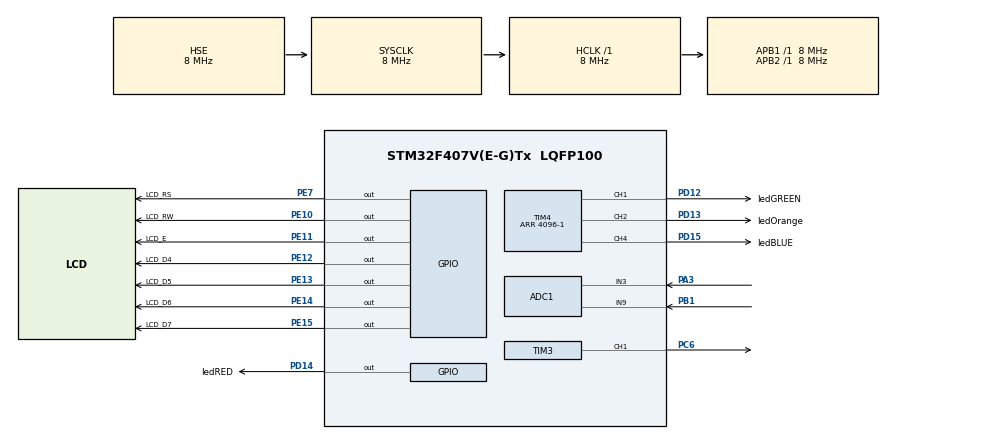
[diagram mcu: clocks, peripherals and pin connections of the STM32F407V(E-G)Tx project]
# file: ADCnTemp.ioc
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ADC1.Channel-3\#ChannelRegularConversion=ADC_CHANNEL_3
ADC1.Channel-4\#ChannelInjectedConversion=ADC_CHANNEL_TEMPSENSOR
ADC1.Channel-5\#ChannelInjectedConversion=ADC_CHANNEL_9
ADC1.ClockPrescaler=ADC_CLOCK_SYNC_PCLK_DIV2
ADC1.ContinuousConvMode=DISABLE
ADC1.EOCSelection=ADC_EOC_SINGLE_CONV
ADC1.InjNumberOfConversion=2
ADC1.InjectedOffset-4\#ChannelInjectedConversion=0
ADC1.InjectedOffset-5\#ChannelInjectedConversion=0
ADC1.InjectedRank-4\#ChannelInjectedConversion=1
ADC1.InjectedRank-5\#ChannelInjectedConversion=2
ADC1.NbrOfConversion=1
ADC1.NbrOfConversionFlag=1
ADC1.Rank-3\#ChannelRegularConversion=1
ADC1.SamplingTime-3\#ChannelRegularConversion=ADC_SAMPLETIME_3CYCLES
ADC1.SamplingTime-4\#ChannelInjectedConversion=ADC_SAMPLETIME_28CYCLES
ADC1.SamplingTime-5\#ChannelInjectedConversion=ADC_SAMPLETIME_480CYCLES
ADC1.ScanConvMode=ENABLE
ADC1.master=1
Mcu.Family=STM32F4
Mcu.Name=STM32F407V(E-G)Tx
Mcu.Package=LQFP100
NVIC.ADC_IRQn=true\:0\:0\:false\:false\:true\:true\:true
NVIC.PriorityGroup=NVIC_PRIORITYGROUP_4
NVIC.TIM3_IRQn=true\:0\:0\:false\:false\:true\:true\:true
NVIC.TIM4_IRQn=true\:0\:0\:false\:false\:true\:true\:true
PA3.GPIO_PuPd=GPIO_NOPULL
PA3.Signal=ADCx_IN3
PB1.Signal=ADCx_IN9
PC6.Signal=S_TIM3_CH1
PD12.GPIO_Label=ledGREEN
PD12.Signal=S_TIM4_CH1
PD13.GPIO_Label=ledOrange
PD13.GPIO_PuPd=GPIO_PULLDOWN
PD13.Signal=S_TIM4_CH2
PD14.GPIO_Label=ledRED
PD14.GPIO_PuPd=GPIO_PULLDOWN
PD14.Signal=GPIO_Output
PD15.GPIO_Label=ledBLUE
PD15.GPIO_PuPd=GPIO_PULLDOWN
PD15.Signal=S_TIM4_CH4
PE10.GPIO_Label=LCD_RW
PE10.Signal=GPIO_Output
PE11.GPIO_Label=LCD_E
PE11.Signal=GPIO_Output
PE12.GPIO_Label=LCD_D4
PE12.Signal=GPIO_Output
PE13.GPIO_Label=LCD_D5
PE13.Signal=GPIO_Output
PE14.GPIO_Label=LCD_D6
PE14.Signal=GPIO_Output
PE15.GPIO_Label=LCD_D7
PE15.Signal=GPIO_Output
PE7.GPIO_Label=LCD_RS
PE7.Signal=GPIO_Output
PH0-OSC_IN.Mode=HSE-External-Oscillator
PH0-OSC_IN.Signal=RCC_OSC_IN
PH1-OSC_OUT.Mode=HSE-External-Oscillator
PH1-OSC_OUT.Signal=RCC_OSC_OUT
ProjectManager.HeapSize=0x200
ProjectManager.StackSize=0x400
ProjectManager.TargetToolchain=STM32CubeIDE
RCC.48MHZClocksFreq_Value=24000000
RCC.AHBFreq_Value=8000000
RCC.APB1Freq_Value=8000000
RCC.APB1TimFreq_Value=8000000
RCC.APB2Freq_Value=8000000
RCC.APB2TimFreq_Value=8000000
RCC.CortexFreq_Value=8000000
RCC.HCLKFreq_Value=8000000
RCC.HSE_VALUE=8000000
RCC.HSI_VALUE=16000000
RCC.LSE_VALUE=32768
RCC.PLLSourceVirtual=RCC_PLLSOURCE_HSE
RCC.SYSCLKFreq_VALUE=8000000
RCC.SYSCLKSource=RCC_SYSCLKSOURCE_HSE
RCC.VCOOutputFreq_Value=96000000
SH.ADCx_IN3.0=ADC1_IN3,IN3
SH.ADCx_IN9.0=ADC1_IN9,IN9
SH.S_TIM3_CH1.0=TIM3_CH1,PWM Generation1 CH1
SH.S_TIM4_CH1.0=TIM4_CH1,PWM Generation1 CH1
SH.S_TIM4_CH2.0=TIM4_CH2,PWM Generation2 CH2
SH.S_TIM4_CH4.0=TIM4_CH4,PWM Generation4 CH4
TIM3.Channel-PWM\ Generation1\ CH1=TIM_CHANNEL_1
TIM3.Period=1999
TIM3.Prescaler=1999
TIM4.Channel-PWM\ Generation1\ CH1=TIM_CHANNEL_1
TIM4.Channel-PWM\ Generation2\ CH2=TIM_CHANNEL_2
TIM4.Channel-PWM\ Generation4\ CH4=TIM_CHANNEL_4
TIM4.Period=4096-1
VP_ADC1_TempSens_Input.Mode=IN-TempSens
board=custom

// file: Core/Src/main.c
/* USER CODE BEGIN Header */
/*
 * -----------------------------------------------------------------------------
 * ADC and temperature sensors.
 * 4 pins output:
 * red(PD14) - digital;
 * green(PD12), orange(PD13), blue(PD15) - PWM.
 * TIM3 - generates the blinking frequency of the red LED.
 * TIM4 - generates PWM.
 * Visualization:  |  Gradation: []
 * orange - internal temp sensor(inside CPU)  |  [1035-1110];
 * green - external temp sensor(lm335)        |  [4095-0 / -24*C-100*C];
 * blue - potentiometer (to pin PA3)          |  [0-4095];
 * red - indication of an emergency situation:
 *       #internal temp sensor: > 1090;
 *       #external temp sensor: > 35*C;
 *       #potentiometer       : > 3500.
 * Emergency priority system:
 * 1) internal temp sensor(inside CPU)
 * 2) external temp sensor(lm335)
 * 3) potentiometer
 * (If several conditions are triggered at the same time,
 *  the indication will show the one above in the list.)
 * -----------------------------------------------------------------------------
 */
/**
  ******************************************************************************
  * @file           : main.c
  * @brief          : Main program body
  ******************************************************************************
  * @attention
  *
  * <h2><center>&copy; Copyright (c) 2021 STMicroelectronics.
  * All rights reserved.</center></h2>
  *
  * This software component is licensed by ST under BSD 3-Clause license,
  * the "License"; You may not use this file except in compliance with the
  * License. You may obtain a copy of the License at:
  *                        opensource.org/licenses/BSD-3-Clause
  *
  ******************************************************************************
  */
/* USER CODE END Header */
#include "main.h"

/* USER CODE BEGIN Includes */
// Library for easy output of information on the lcd display.
// Taken from the Internet.
#include "hd44780.h"
/* USER CODE END Includes */

ADC_HandleTypeDef hadc1;

TIM_HandleTypeDef htim3;
TIM_HandleTypeDef htim4;

/* USER CODE BEGIN PV */
_Bool flag_emerency = 0;
uint16_t adcPOT = 0; // Potentiometer
uint16_t adcCPU = 0; // Internal temp sensor(inside CPU)
uint32_t adcEXT = 0; // External temp sensor(lm335)
double tempEXT;
// Degree symbol
uint8_t symbDegree[FONT_HEIGHT] =
{
		0b01100,
		0b10010,
		0b10010,
		0b01100,
		0b00000,
		0b00000,
		0b00000,
		0b00000
};
/* USER CODE END PV */

void SystemClock_Config(void);
static void MX_GPIO_Init(void);
static void MX_TIM3_Init(void);
static void MX_ADC1_Init(void);
static void MX_TIM4_Init(void);
/* USER CODE BEGIN PFP */
void printTempLCD();
uint16_t calcCPU(uint16_t inputADC_CPU);
double calcTempEXT(uint16_t inputADC_EXT);
void setTimARR(uint16_t valPeriod);
/* USER CODE END PFP */

/* USER CODE BEGIN 0 */
void HAL_ADC_ConvCpltCallback(ADC_HandleTypeDef* hadc)
{
    if(hadc->Instance == ADC1) //check if the interrupt comes from ACD1
    {
    	/* Get the value from the potentiometer */
        adcPOT = HAL_ADC_GetValue(&hadc1);
    }
}
void HAL_TIM_PeriodElapsedCallback(TIM_HandleTypeDef *htim)
{
	if (flag_emerency) {
		if (htim->Instance==TIM3) //check if the interrupt comes from TIM1
			HAL_GPIO_TogglePin(GPIOD, ledRED_Pin); //Toggle the state of pin
	}
}
/* USER CODE END 0 */

int main(void)
{

  /* MCU Configuration--------------------------------------------------------*/

  /* Reset of all peripherals, Initializes the Flash interface and the Systick. */
  HAL_Init();

  /* Configure the system clock */
  SystemClock_Config();

  /* Initialize all configured peripherals */
  MX_GPIO_Init();
  MX_TIM3_Init();
  MX_ADC1_Init();
  MX_TIM4_Init();
  /* USER CODE BEGIN 2 */
  HAL_TIM_Base_Start_IT(&htim3);
  HAL_ADC_Start_IT(&hadc1);
  HAL_TIM_PWM_Start(&htim4, TIM_CHANNEL_1);
  HAL_TIM_PWM_Start(&htim4, TIM_CHANNEL_2);
  HAL_TIM_PWM_Start(&htim4, TIM_CHANNEL_4);
  //Initialization of the LCD display
  lcdInit();
  /* USER CODE END 2 */

  /* Infinite loop */
  /* USER CODE BEGIN WHILE */
  while (1)
  {
	  /* ADC, temp sensors and indication */
		  // Read the analog value from the internal and external temperature sensor
		  HAL_ADCEx_InjectedStart(&hadc1);
		  HAL_ADC_PollForConversion(&hadc1,100);
		  adcCPU = HAL_ADCEx_InjectedGetValue(&hadc1, ADC_INJECTED_RANK_1);
		  adcEXT = HAL_ADCEx_InjectedGetValue(&hadc1, ADC_INJECTED_RANK_2);
		  HAL_ADCEx_InjectedStop(&hadc1);

		  // Set the calculated PWM value
		  ledORANGE_Tim = calcCPU(adcCPU);
		  // Max values ​​for PWM and max values ​​from ADC are equal.
		  // (No need to recalculate)
		  ledBLUE_Tim = adcPOT;
		  // Initially, the values of adc from lm335 are obtained with inversion.
		  // This must be corrected to set the PWM value.
		  ledGREEN_Tim = 4095 - adcEXT;

		  // Calculating the value of temperature in degrees Celsius.
		  tempEXT = calcTempEXT(adcEXT);

	  /* Indication of an emergency situation */
		  if (calcCPU(adcCPU) > 3000)
		  {
			  flag_emerency = 1;
			  setTimARR(400-1);  // Set period to 5Hz blinking
		  }
		  else if (adcEXT < 1800)
		  {
			  flag_emerency = 1;
			  setTimARR(800-1);  // Set period to 2.5Hz blinking
		  }
		  else if (adcPOT > 3500)
		  {
			  flag_emerency = 1;
			  setTimARR(2000-1);  // Set period to 1Hz blinking
		  }
		  else
		  {
			  flag_emerency = 0;
			  HAL_GPIO_WritePin(GPIOD, ledRED_Pin, 0); // Turn off red led
		  }

	 /* Print values on the display. */
	   printTempLCD();

	   HAL_Delay(300);
	   // Reactivation of the analog reading function.
	   HAL_ADC_Start_IT(&hadc1);

    /* USER CODE END WHILE */

  }
}

void SystemClock_Config(void)
{
  RCC_OscInitTypeDef RCC_OscInitStruct = {0};
  RCC_ClkInitTypeDef RCC_ClkInitStruct = {0};

  /** Configure the main internal regulator output voltage
  */
  __HAL_RCC_PWR_CLK_ENABLE();
  __HAL_PWR_VOLTAGESCALING_CONFIG(PWR_REGULATOR_VOLTAGE_SCALE1);
  /** Initializes the RCC Oscillators according to the specified parameters
  * in the RCC_OscInitTypeDef structure.
  */
  RCC_OscInitStruct.OscillatorType = RCC_OSCILLATORTYPE_HSE;
  RCC_OscInitStruct.HSEState = RCC_HSE_ON;
  RCC_OscInitStruct.PLL.PLLState = RCC_PLL_NONE;
  if (HAL_RCC_OscConfig(&RCC_OscInitStruct) != HAL_OK)
  {
    Error_Handler();
  }
  /** Initializes the CPU, AHB and APB buses clocks
  */
  RCC_ClkInitStruct.ClockType = RCC_CLOCKTYPE_HCLK|RCC_CLOCKTYPE_SYSCLK
                              |RCC_CLOCKTYPE_PCLK1|RCC_CLOCKTYPE_PCLK2;
  RCC_ClkInitStruct.SYSCLKSource = RCC_SYSCLKSOURCE_HSE;
  RCC_ClkInitStruct.AHBCLKDivider = RCC_SYSCLK_DIV1;
  RCC_ClkInitStruct.APB1CLKDivider = RCC_HCLK_DIV1;
  RCC_ClkInitStruct.APB2CLKDivider = RCC_HCLK_DIV1;

  if (HAL_RCC_ClockConfig(&RCC_ClkInitStruct, FLASH_LATENCY_0) != HAL_OK)
  {
    Error_Handler();
  }
}

static void MX_ADC1_Init(void)
{

  ADC_ChannelConfTypeDef sConfig = {0};
  ADC_InjectionConfTypeDef sConfigInjected = {0};

  /** Configure the global features of the ADC (Clock, Resolution, Data Alignment and number of conversion)
  */
  hadc1.Instance = ADC1;
  hadc1.Init.ClockPrescaler = ADC_CLOCK_SYNC_PCLK_DIV2;
  hadc1.Init.Resolution = ADC_RESOLUTION_12B;
  hadc1.Init.ScanConvMode = ENABLE;
  hadc1.Init.ContinuousConvMode = DISABLE;
  hadc1.Init.DiscontinuousConvMode = DISABLE;
  hadc1.Init.ExternalTrigConvEdge = ADC_EXTERNALTRIGCONVEDGE_NONE;
  hadc1.Init.ExternalTrigConv = ADC_SOFTWARE_START;
  hadc1.Init.DataAlign = ADC_DATAALIGN_RIGHT;
  hadc1.Init.NbrOfConversion = 1;
  hadc1.Init.DMAContinuousRequests = DISABLE;
  hadc1.Init.EOCSelection = ADC_EOC_SINGLE_CONV;
  if (HAL_ADC_Init(&hadc1) != HAL_OK)
  {
    Error_Handler();
  }
  /** Configure for the selected ADC regular channel its corresponding rank in the sequencer and its sample time.
  */
  sConfig.Channel = ADC_CHANNEL_3;
  sConfig.Rank = 1;
  sConfig.SamplingTime = ADC_SAMPLETIME_3CYCLES;
  if (HAL_ADC_ConfigChannel(&hadc1, &sConfig) != HAL_OK)
  {
    Error_Handler();
  }
  /** Configures for the selected ADC injected channel its corresponding rank in the sequencer and its sample time
  */
  sConfigInjected.InjectedChannel = ADC_CHANNEL_TEMPSENSOR;
  sConfigInjected.InjectedRank = 1;
  sConfigInjected.InjectedNbrOfConversion = 2;
  sConfigInjected.InjectedSamplingTime = ADC_SAMPLETIME_28CYCLES;
  sConfigInjected.ExternalTrigInjecConvEdge = ADC_EXTERNALTRIGINJECCONVEDGE_NONE;
  sConfigInjected.ExternalTrigInjecConv = ADC_INJECTED_SOFTWARE_START;
  sConfigInjected.AutoInjectedConv = DISABLE;
  sConfigInjected.InjectedDiscontinuousConvMode = DISABLE;
  sConfigInjected.InjectedOffset = 0;
  if (HAL_ADCEx_InjectedConfigChannel(&hadc1, &sConfigInjected) != HAL_OK)
  {
    Error_Handler();
  }
  /** Configures for the selected ADC injected channel its corresponding rank in the sequencer and its sample time
  */
  sConfigInjected.InjectedChannel = ADC_CHANNEL_9;
  sConfigInjected.InjectedRank = 2;
  sConfigInjected.InjectedSamplingTime = ADC_SAMPLETIME_480CYCLES;
  if (HAL_ADCEx_InjectedConfigChannel(&hadc1, &sConfigInjected) != HAL_OK)
  {
    Error_Handler();
  }

}

static void MX_TIM3_Init(void)
{

  TIM_MasterConfigTypeDef sMasterConfig = {0};
  TIM_OC_InitTypeDef sConfigOC = {0};

  htim3.Instance = TIM3;
  htim3.Init.Prescaler = 1999;
  htim3.Init.CounterMode = TIM_COUNTERMODE_UP;
  htim3.Init.Period = 1999;
  htim3.Init.ClockDivision = TIM_CLOCKDIVISION_DIV1;
  htim3.Init.AutoReloadPreload = TIM_AUTORELOAD_PRELOAD_DISABLE;
  if (HAL_TIM_PWM_Init(&htim3) != HAL_OK)
  {
    Error_Handler();
  }
  sMasterConfig.MasterOutputTrigger = TIM_TRGO_RESET;
  sMasterConfig.MasterSlaveMode = TIM_MASTERSLAVEMODE_DISABLE;
  if (HAL_TIMEx_MasterConfigSynchronization(&htim3, &sMasterConfig) != HAL_OK)
  {
    Error_Handler();
  }
  sConfigOC.OCMode = TIM_OCMODE_PWM1;
  sConfigOC.Pulse = 0;
  sConfigOC.OCPolarity = TIM_OCPOLARITY_HIGH;
  sConfigOC.OCFastMode = TIM_OCFAST_DISABLE;
  if (HAL_TIM_PWM_ConfigChannel(&htim3, &sConfigOC, TIM_CHANNEL_1) != HAL_OK)
  {
    Error_Handler();
  }
  HAL_TIM_MspPostInit(&htim3);

}

static void MX_TIM4_Init(void)
{

  TIM_MasterConfigTypeDef sMasterConfig = {0};
  TIM_OC_InitTypeDef sConfigOC = {0};

  htim4.Instance = TIM4;
  htim4.Init.Prescaler = 0;
  htim4.Init.CounterMode = TIM_COUNTERMODE_UP;
  htim4.Init.Period = 4096-1;
  htim4.Init.ClockDivision = TIM_CLOCKDIVISION_DIV1;
  htim4.Init.AutoReloadPreload = TIM_AUTORELOAD_PRELOAD_DISABLE;
  if (HAL_TIM_PWM_Init(&htim4) != HAL_OK)
  {
    Error_Handler();
  }
  sMasterConfig.MasterOutputTrigger = TIM_TRGO_RESET;
  sMasterConfig.MasterSlaveMode = TIM_MASTERSLAVEMODE_DISABLE;
  if (HAL_TIMEx_MasterConfigSynchronization(&htim4, &sMasterConfig) != HAL_OK)
  {
    Error_Handler();
  }
  sConfigOC.OCMode = TIM_OCMODE_PWM1;
  sConfigOC.Pulse = 0;
  sConfigOC.OCPolarity = TIM_OCPOLARITY_HIGH;
  sConfigOC.OCFastMode = TIM_OCFAST_DISABLE;
  if (HAL_TIM_PWM_ConfigChannel(&htim4, &sConfigOC, TIM_CHANNEL_1) != HAL_OK)
  {
    Error_Handler();
  }
  if (HAL_TIM_PWM_ConfigChannel(&htim4, &sConfigOC, TIM_CHANNEL_2) != HAL_OK)
  {
    Error_Handler();
  }
  if (HAL_TIM_PWM_ConfigChannel(&htim4, &sConfigOC, TIM_CHANNEL_4) != HAL_OK)
  {
    Error_Handler();
  }
  HAL_TIM_MspPostInit(&htim4);

}

static void MX_GPIO_Init(void)
{
  GPIO_InitTypeDef GPIO_InitStruct = {0};

  /* GPIO Ports Clock Enable */
  __HAL_RCC_GPIOH_CLK_ENABLE();
  __HAL_RCC_GPIOA_CLK_ENABLE();
  __HAL_RCC_GPIOB_CLK_ENABLE();
  __HAL_RCC_GPIOE_CLK_ENABLE();
  __HAL_RCC_GPIOD_CLK_ENABLE();
  __HAL_RCC_GPIOC_CLK_ENABLE();

  /*Configure GPIO pin Output Level */
  HAL_GPIO_WritePin(GPIOE, LCD_RS_Pin|LCD_RW_Pin|LCD_E_Pin|LCD_D4_Pin
                          |LCD_D5_Pin|LCD_D6_Pin|LCD_D7_Pin, GPIO_PIN_RESET);

  /*Configure GPIO pin Output Level */
  HAL_GPIO_WritePin(ledRED_GPIO_Port, ledRED_Pin, GPIO_PIN_RESET);

  /*Configure GPIO pins : LCD_RS_Pin LCD_RW_Pin LCD_E_Pin LCD_D4_Pin
                           LCD_D5_Pin LCD_D6_Pin LCD_D7_Pin */
  GPIO_InitStruct.Pin = LCD_RS_Pin|LCD_RW_Pin|LCD_E_Pin|LCD_D4_Pin
                          |LCD_D5_Pin|LCD_D6_Pin|LCD_D7_Pin;
  GPIO_InitStruct.Mode = GPIO_MODE_OUTPUT_PP;
  GPIO_InitStruct.Pull = GPIO_NOPULL;
  GPIO_InitStruct.Speed = GPIO_SPEED_FREQ_LOW;
  HAL_GPIO_Init(GPIOE, &GPIO_InitStruct);

  /*Configure GPIO pin : ledRED_Pin */
  GPIO_InitStruct.Pin = ledRED_Pin;
  GPIO_InitStruct.Mode = GPIO_MODE_OUTPUT_PP;
  GPIO_InitStruct.Pull = GPIO_PULLDOWN;
  GPIO_InitStruct.Speed = GPIO_SPEED_FREQ_LOW;
  HAL_GPIO_Init(ledRED_GPIO_Port, &GPIO_InitStruct);

}

/* USER CODE BEGIN 4 */

void printTempLCD()
{
	/* Function for displaying values. */
   lcdClrScr();	// Clear the display

   lcdLoadChar(symbDegree,6); // Load the degree symbol into memory

   lcdGoto(LCD_1st_LINE,0);
   lcdPuts("adcPOT:");
   lcdItos(adcPOT);

   lcdGoto(LCD_1st_LINE,0);
   lcdPuts("\naI:");
   lcdItos(adcCPU);

   lcdPuts(" tE:");
   lcdFtos((float)tempEXT,1); // 1 decimal place
   lcdPutc(6); // Print the degree symbol

}

uint16_t calcCPU(uint16_t inputADC_CPU)
{
	/*
	 * Since the temperature sensor in the microcontroller is designed
	 * to monitor RELATIVE values, the values required for demonstration
	 * were selected.
	 * The initial value of the ADC = 1035, while the normal values from
	 * the temperature sensor (at a room temperature of 25 degrees) = 1040.
	 * Accordingly, the step of increasing the PWM signal = 54.
	 * */
	uint16_t outputPWM = 0;
	if (inputADC_CPU > 1035)
		outputPWM = (inputADC_CPU - 1035) * 54;
	if (inputADC_CPU > 1110)
		outputPWM = 4095;
	return outputPWM;
}
double calcTempEXT(uint16_t inputADC_EXT)
{
	/*
	 * We get the inverted value of the ADC.
	 * (the higher the temperature, the lower the value)
	 * -24 *C = 2.50v
	 *  0  *С = 2.02v(Vo)
	 *  50 *C = 1.02v
	 *  100*C = 0.02v
	 *  => 1*C = 0.02v
	 * voltage = inputADC_EXT*2.98/4096;
	 * where 2.98 is voltage on the sensor;
	 * temp*C = (Vo - voltage) / 0.02
	 */
	return (2.02 - (inputADC_EXT*2.98/(double)4096)) / 0.02;
}

void setTimARR(uint16_t valPeriod)
{
	/* If the value of the period differs from the required one, set it */
	if (TIM3->ARR != valPeriod)
	{
		TIM3->ARR = valPeriod;  // Set period
		TIM3->EGR = TIM_EGR_UG; // Reload the register
	}
}
/* USER CODE END 4 */

void Error_Handler(void)
{
  __disable_irq();
  while (1)
  {
  }
}

/************************ (C) COPYRIGHT STMicroelectronics *****END OF FILE****/
